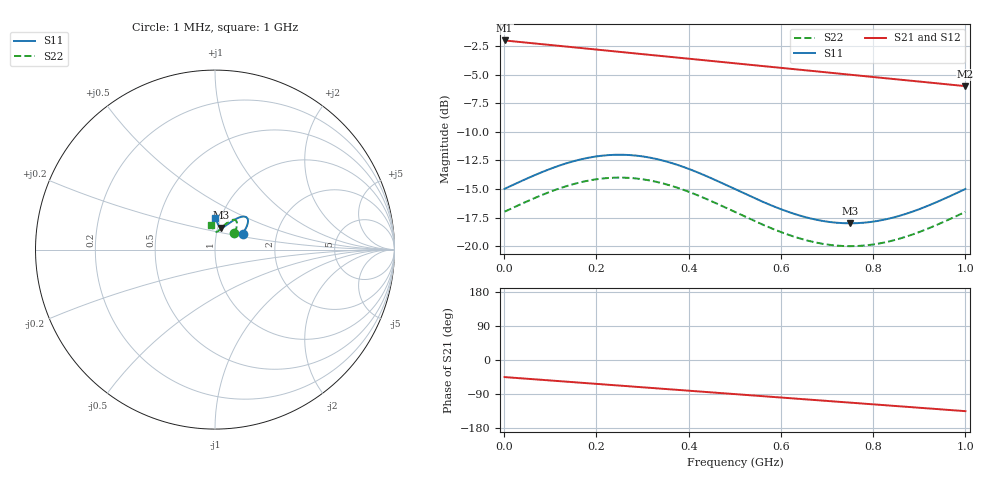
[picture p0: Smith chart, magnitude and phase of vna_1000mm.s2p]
! Synthetic S2P fixture: vna_1000mm.s2p
! Generated for testing purposes
# MHZ S DB R 50
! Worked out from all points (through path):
!   201 points, 1 MHz to 1 GHz, reference 50 ohm
!   highest |S21| = -2.00 dB at 1 MHz (marker M1); lowest = -6.0 dB at 1 GHz (marker M2)
!   lowest |S11| = -18.0 dB at 750.2 MHz (marker M3), VSWR 1.29, Z = 51.8 + j12.8 ohm
!   |S11| at or under -10 dB: start of sweep to end of sweep
!   |S22| runs from -20.0 to -14.0 dB; largest |S21 - S12| = 0
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1  -14.98 30.1  -2.00 -45.1  -2.00 -45.1  -16.98 40.1
45.955  -14.15 32.8  -2.18 -49.1  -2.18 -49.1  -16.15 42.8
95.905  -13.30 35.8  -2.38 -53.6  -2.38 -53.6  -15.30 45.8
135.865  -12.74 38.2  -2.54 -57.2  -2.54 -57.2  -14.74 48.2
170.83  -12.36 40.2  -2.68 -60.4  -2.68 -60.4  -14.36 50.2
210.79  -12.09 42.6  -2.84 -64.0  -2.84 -64.0  -14.09 52.6
250.75  -12.00 45.0  -3.00 -67.6  -3.00 -67.6  -14.00 55.0
290.71  -12.10 47.4  -3.16 -71.2  -3.16 -71.2  -14.10 57.4
335.665  -12.42 50.1  -3.34 -75.2  -3.34 -75.2  -14.42 60.1
370.63  -12.82 52.2  -3.48 -78.4  -3.48 -78.4  -14.82 62.2
405.595  -13.32 54.3  -3.62 -81.5  -3.62 -81.5  -15.32 64.3
500.5  -15.01 60.0  -4.00 -90.0  -4.00 -90.0  -17.01 70.0
595.405  -16.69 65.7  -4.38 -98.6  -4.38 -98.6  -18.69 75.7
635.365  -17.25 68.1  -4.54 -102.2  -4.54 -102.2  -19.25 78.1
670.33  -17.63 70.2  -4.68 -105.3  -4.68 -105.3  -19.63 80.2
710.29  -17.91 72.6  -4.84 -108.9  -4.84 -108.9  -19.91 82.6
750.25  -18.00 75.0  -5.00 -112.5  -5.00 -112.5  -20.00 85.0
790.21  -17.90 77.4  -5.16 -116.1  -5.16 -116.1  -19.90 87.4
835.165  -17.58 80.1  -5.34 -120.2  -5.34 -120.2  -19.58 90.1
870.13  -17.19 82.2  -5.48 -123.3  -5.48 -123.3  -19.19 92.2
905.095  -16.68 84.3  -5.62 -126.5  -5.62 -126.5  -18.68 94.3
1000  -15.00 90.0  -6.00 -135.0  -6.00 -135.0  -17.00 100.0
